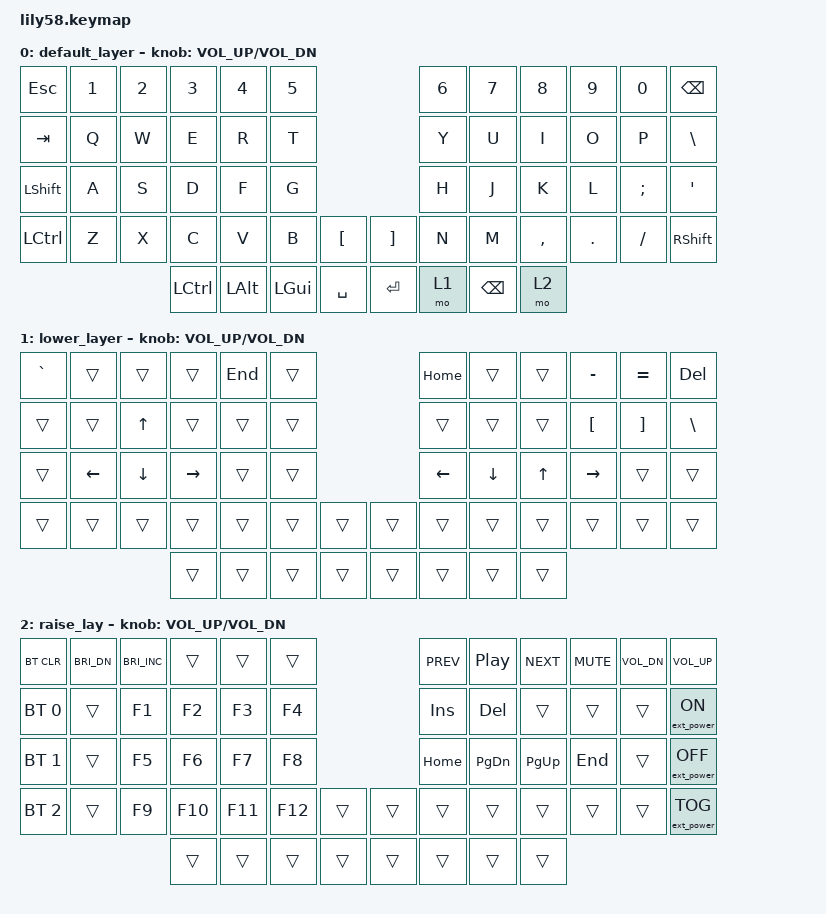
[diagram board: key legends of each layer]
/*
 * Copyright (c) 2020 The ZMK Contributors
 *
 * SPDX-License-Identifier: MIT
 */

#include <behaviors.dtsi>
#include <dt-bindings/zmk/keys.h>
#include <dt-bindings/zmk/bt.h>
#include <dt-bindings/zmk/ext_power.h>

/ {
    keymap {
        compatible = "zmk,keymap";

        default_layer {
            // ------------------------------------------------------------------------------------------------------------
            // |  ESC  |  1  |  2  |  3   |  4   |  5   |                   |  6   |  7    |  8    |  9   |   0   |   `   |
            // |  TAB  |  Q  |  W  |  E   |  R   |  T   |                   |  Y   |  U    |  I    |  O   |   P   |   -   |
            // |  CTRL |  A  |  S  |  D   |  F   |  G   |                   |  H   |  J    |  K    |  L   |   ;   |   '   |
            // | SHIFT |  Z  |  X  |  C   |  V   |  B   |   "["  |  |  "]"  |  N   |  M    |  ,    |  .   |   /   | SHIFT |
            //                     | ALT  | GUI  | LOWER|  SPACE |  | ENTER | RAISE| BSPC  | GUI   |

            bindings = <
       &kp ESC  &kp N1  &kp N2     &kp N3        &kp N4        &kp N5                       &kp N6         &kp N7     &kp N8   &kp N9    &kp N0  &kp BACKSPACE
       &kp TAB   &kp Q   &kp W      &kp E         &kp R         &kp T                        &kp Y          &kp U      &kp I    &kp O     &kp P  &kp BACKSLASH
&kp LEFT_SHIFT   &kp A   &kp S      &kp D         &kp F         &kp G                        &kp H          &kp J      &kp K    &kp L  &kp SEMI        &kp SQT
     &kp LCTRL   &kp Z   &kp X      &kp C         &kp V         &kp B   &kp LBKT  &kp RBKT   &kp N          &kp M  &kp COMMA  &kp DOT  &kp FSLH     &kp RSHIFT
                                &kp LCTRL  &kp LEFT_ALT  &kp LEFT_GUI  &kp SPACE   &kp RET   &mo 1  &kp BACKSPACE      &mo 2
            >;

            sensor-bindings = <&inc_dec_kp C_VOL_UP C_VOL_DN>;
        };

        lower_layer {
            // ------------------------------------------------------------------------------------------------------------
            // | BTCLR | BT1 | BT2 |  BT3 |  BT4 |  BT5 |                   |      |       |       |      |       |       |
            // |  F1   |  F2 |  F3 |  F4  |  F5  |  F6  |                   |  F7  |  F8   |  F9   |  F10 |  F11  |  F12  |
            // |   `   |  !  |  @  |  #   |  $   |  %   |                   |  ^   |  &    |  *    |  (   |   )   |   ~   |
            // |       |     |     |      |      |      |        |  |       |      |  _    |  +    |  {   |   }   |  "|"  |
            //                     |      |      |      |        |  |       |      |       |       |

            bindings = <
&kp GRAVE    &trans    &trans     &trans  &kp END  &trans                  &kp HOME    &trans  &trans         &kp MINUS          &kp EQUAL     &kp DELETE
   &trans    &trans    &kp UP     &trans   &trans  &trans                    &trans    &trans  &trans  &kp LEFT_BRACKET  &kp RIGHT_BRACKET  &kp BACKSLASH
   &trans  &kp LEFT  &kp DOWN  &kp RIGHT   &trans  &trans                  &kp LEFT  &kp DOWN  &kp UP         &kp RIGHT             &trans         &trans
   &trans    &trans    &trans     &trans   &trans  &trans  &trans  &trans    &trans    &trans  &trans            &trans             &trans         &trans
                                  &trans   &trans  &trans  &trans  &trans    &trans    &trans  &trans
            >;

            sensor-bindings = <&inc_dec_kp C_VOL_UP C_VOL_DN>;
        };

        raise_lay {
            // ------------------------------------------------------------------------------------------------------------
            // |       |     |     |      |      |      |                   |      |       |       |      |       |       |
            // |   `   |  1  |  2  |  3   |  4   |  5   |                   |  6   |   7   |   8   |  9   |   0   |       |
            // |   F1  |  F2 |  F3 |  F4  |  F5  |  F6  |                   |      |   <-  |   v   |  ^   |  ->   |       |
            // |   F7  |  F8 |  F9 |  F10 |  F11 |  F12 |        |  |       |  +   |   -   |   =   |  [   |   ]   |   \   |
            //                     |      |      |      |        |  |       |      |       |       |

            bindings = <
  &bt BT_CLR  &kp C_BRI_DN  &kp C_BRIGHTNESS_INC   &trans   &trans   &trans                  &kp C_PREV  &kp C_PLAY_PAUSE  &kp C_NEXT  &kp C_MUTE  &kp C_VOL_DN       &kp C_VOL_UP
&bt BT_SEL 0        &trans                &kp F1   &kp F2   &kp F3   &kp F4                     &kp INS           &kp DEL      &trans      &trans        &trans   &ext_power EP_ON
&bt BT_SEL 1        &trans                &kp F5   &kp F6   &kp F7   &kp F8                    &kp HOME     &kp PAGE_DOWN   &kp PG_UP     &kp END        &trans  &ext_power EP_OFF
&bt BT_SEL 2        &trans                &kp F9  &kp F10  &kp F11  &kp F12  &trans  &trans      &trans            &trans      &trans      &trans        &trans  &ext_power EP_TOG
                                                   &trans   &trans   &trans  &trans  &trans      &trans            &trans      &trans
            >;

            sensor-bindings = <&inc_dec_kp C_VOL_UP C_VOL_DN>;
        };
    };
};
